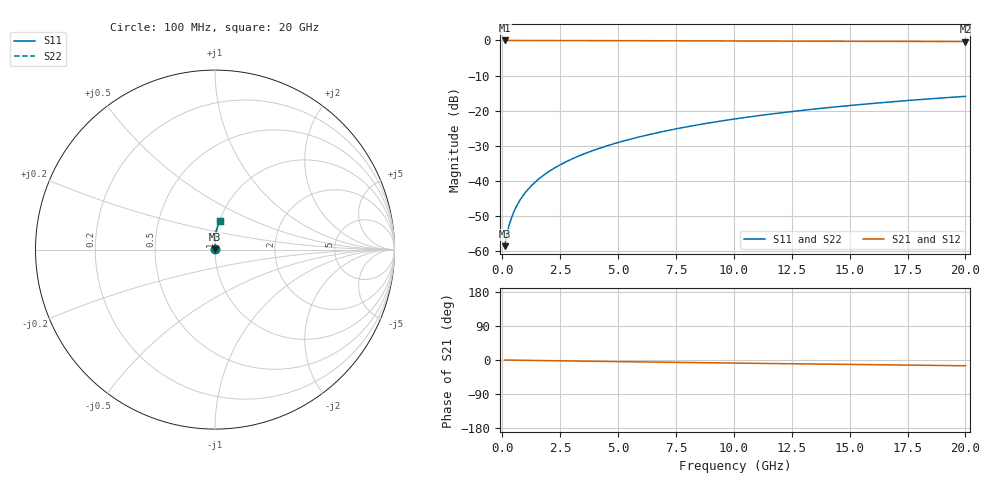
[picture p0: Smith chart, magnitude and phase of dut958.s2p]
! Touchstone file exported from HFSS 2024.1.0
!  File:  C:/UserFiles/LocalFiles/RDL_TSV_Batchsim/temp_RDL_top_958_1779938334.aedt
!  Generated:  11:21:14 AM May 28, 2026
!  Design:  RDL_top
!  Project:  temp_RDL_top_958_1779938334
!  Setup:  Setup1
!  Solution:  Sweep
! Variables:
!  dtsv = 10.80580581um
!  hbump = 3um
!  htsv = 62.81um
!  ldown = 100um
!  lrdl = 193.51um
!  p = 40
!  p1 = 49.41um
!  rhole = 1um
!  t = 450um
!  tdown = 3.915915916um
!  trdl = 4.01um
!  wdown = 15.38538539um
!  wrdl = 24.05um
# GHz S MA R 50.000000
! Terminal data exported
! Port[1] = Box2_T1
! Port[2] = Box2_T2
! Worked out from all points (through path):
!   200 points, 100 MHz to 20 GHz, reference 50 ohm
!   highest |S21| = -0.01 dB at 100 MHz (marker M1); lowest = -0.3 dB at 20 GHz (marker M2)
!   group delay of S21, straight-line fit = 2.08 ps
!   lowest |S11| = -58.6 dB at 100 MHz (marker M3), VSWR 1.00, Z = 50.1 + j0.0741 ohm
!   |S11| at or under -10 dB: start of sweep to end of sweep
!   |S22| runs from -58.6 to -15.9 dB; largest |S21 - S12| = 3e-15
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0.1  0.001176 39.0  0.9991 -0.1  0.9991 -0.1  0.001176 39.0
! Gamma 0 0 0 0
! Port Impedance 50 0 50 0
0.2  0.001741 56.7  0.999 -0.2  0.999 -0.2  0.001741 56.7
0.3  0.002364 65.0  0.999 -0.3  0.999 -0.3  0.002364 65.0
0.4  0.002995 69.9  0.9989 -0.4  0.9989 -0.4  0.002995 69.8
0.5  0.003628 73.1  0.9988 -0.5  0.9988 -0.5  0.003628 73.1
0.6  0.004264 75.6  0.9988 -0.5  0.9988 -0.5  0.004264 75.6
0.8  0.005547 79.0  0.9987 -0.7  0.9987 -0.7  0.005547 79.0
1.1  0.007499 82.2  0.9985 -1.0  0.9985 -1.0  0.007498 82.2
1.5  0.01014 84.7  0.9982 -1.3  0.9982 -1.3  0.01014 84.7
1.8  0.01216 86.0  0.9979 -1.6  0.9979 -1.6  0.01216 86.0
2.1  0.01419 87.0  0.9975 -1.9  0.9975 -1.9  0.01419 87.0
2.7  0.01834 88.4  0.9967 -2.4  0.9967 -2.4  0.01834 88.4
3.5  0.02402 89.6  0.9954 -3.1  0.9954 -3.1  0.02402 89.6
4.2  0.02915 90.2  0.9941 -3.6  0.9941 -3.6  0.02915 90.2
5  0.03518 90.6  0.9925 -4.3  0.9925 -4.3  0.03517 90.6
5.9  0.04216 90.7  0.9905 -5.0  0.9905 -5.0  0.04216 90.7
6.8  0.04934 90.6  0.9886 -5.7  0.9886 -5.7  0.04933 90.6
8.4  0.06245 90.0  0.9851 -6.9  0.9851 -6.9  0.06244 90.0
10.1  0.0767 88.9  0.9814 -8.2  0.9814 -8.2  0.0767 88.9
13.4  0.1047 86.3  0.9748 -10.6  0.9748 -10.6  0.1047 86.3
16.7  0.1326 83.4  0.9684 -12.9  0.9684 -12.9  0.1326 83.4
20  0.16 80.5  0.9621 -15.2  0.9621 -15.2  0.16 80.5
